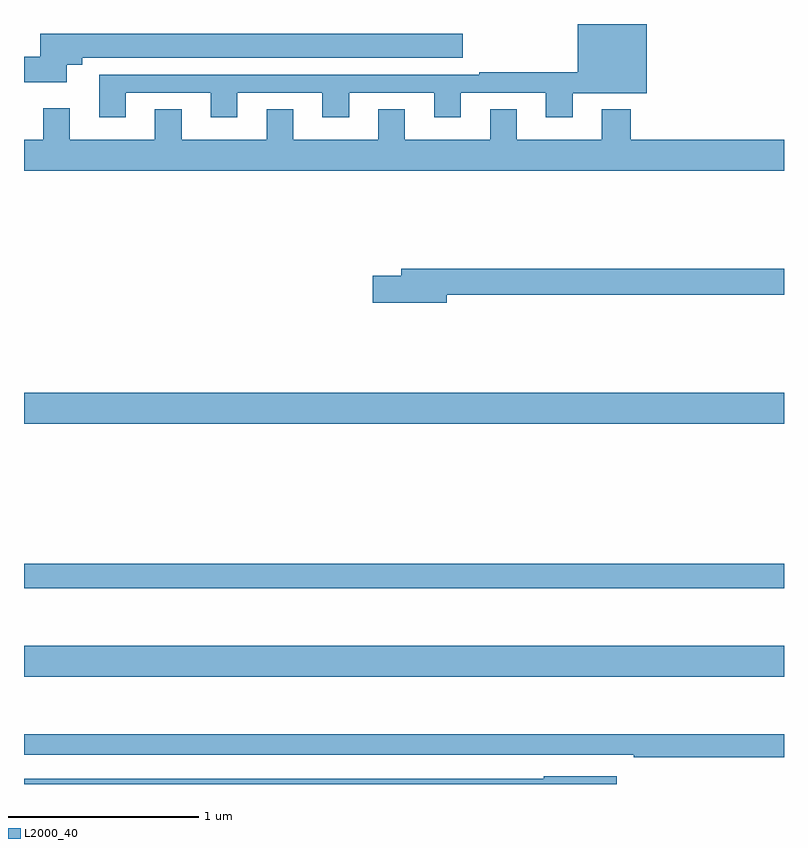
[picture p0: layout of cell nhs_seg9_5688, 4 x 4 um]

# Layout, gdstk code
import gdstk
lib = gdstk.Library(unit=1e-6, precision=1e-09)
def R(c, l, rs):  # rectangles x0, y0, x1, y1
    for r in rs: c.add(gdstk.rectangle(r[:2], r[2:], *l))
def P(c, l, *ps):  # polygons
    for p in ps: c.add(gdstk.Polygon(p, *l))
L2000_40 = (2000, 40)

nhs_seg9_5688 = lib.new_cell('nhs_seg9_5688')
R(nhs_seg9_5688, L2000_40, [(441,1219.064,445,1219.228), (441,1219.53,445,1219.658), (441,1220.396,445,1220.56)])
P(nhs_seg9_5688, L2000_40, [(441.535,1222.137),(441.983,1222.137),(441.983,1222.008),(442.123,1222.008),(442.123,1222.137),(442.571,1222.137),(442.571,1222.008),(442.711,1222.008),(442.711,1222.137),(443.159,1222.137),(443.159,1222.008),(443.299,1222.008),(443.299,1222.137),(443.747,1222.137),(443.747,1222.008),(443.887,1222.008),(443.887,1222.136),(444.277,1222.136),(444.277,1222.5),(443.915,1222.5),(443.915,1222.246),(443.395,1222.246),(443.395,1222.233),(441.395,1222.233),(441.395,1222.008),(441.535,1222.008)],
  [(441.226,1222.286),(441.307,1222.286),(441.307,1222.322),(443.308,1222.322),(443.308,1222.45),(441.086,1222.45),(441.086,1222.328),(441,1222.328),(441,1222.193),(441.226,1222.193)],
  [(445,1221.892),(444.194,1221.892),(444.194,1222.051),(444.041,1222.051),(444.041,1221.892),(443.593,1221.892),(443.593,1222.052),(443.453,1222.052),(443.453,1221.892),(443.005,1221.892),(443.005,1222.052),(442.865,1222.052),(442.865,1221.892),(442.417,1221.892),(442.417,1222.052),(442.277,1222.052),(442.277,1221.892),(441.829,1221.892),(441.829,1222.052),(441.689,1222.052),(441.689,1221.892),(441.241,1221.892),(441.241,1222.057),(441.101,1222.057),(441.101,1221.892),(441,1221.892),(441,1221.728),(445,1221.728)],
  [(443.224,1221.076),(445,1221.076),(445,1221.212),(442.985,1221.212),(442.985,1221.176),(442.836,1221.176),(442.836,1221.034),(443.224,1221.034)],
  [(445,1218.763),(441,1218.763),(441,1218.654),(444.208,1218.654),(444.208,1218.642),(445,1218.642)],
  [(444.121,1218.541),(443.736,1218.541),(443.736,1218.528),(441,1218.528),(441,1218.5),(444.121,1218.5)])

lib.write_gds('nhs_seg9_5688.gds')
